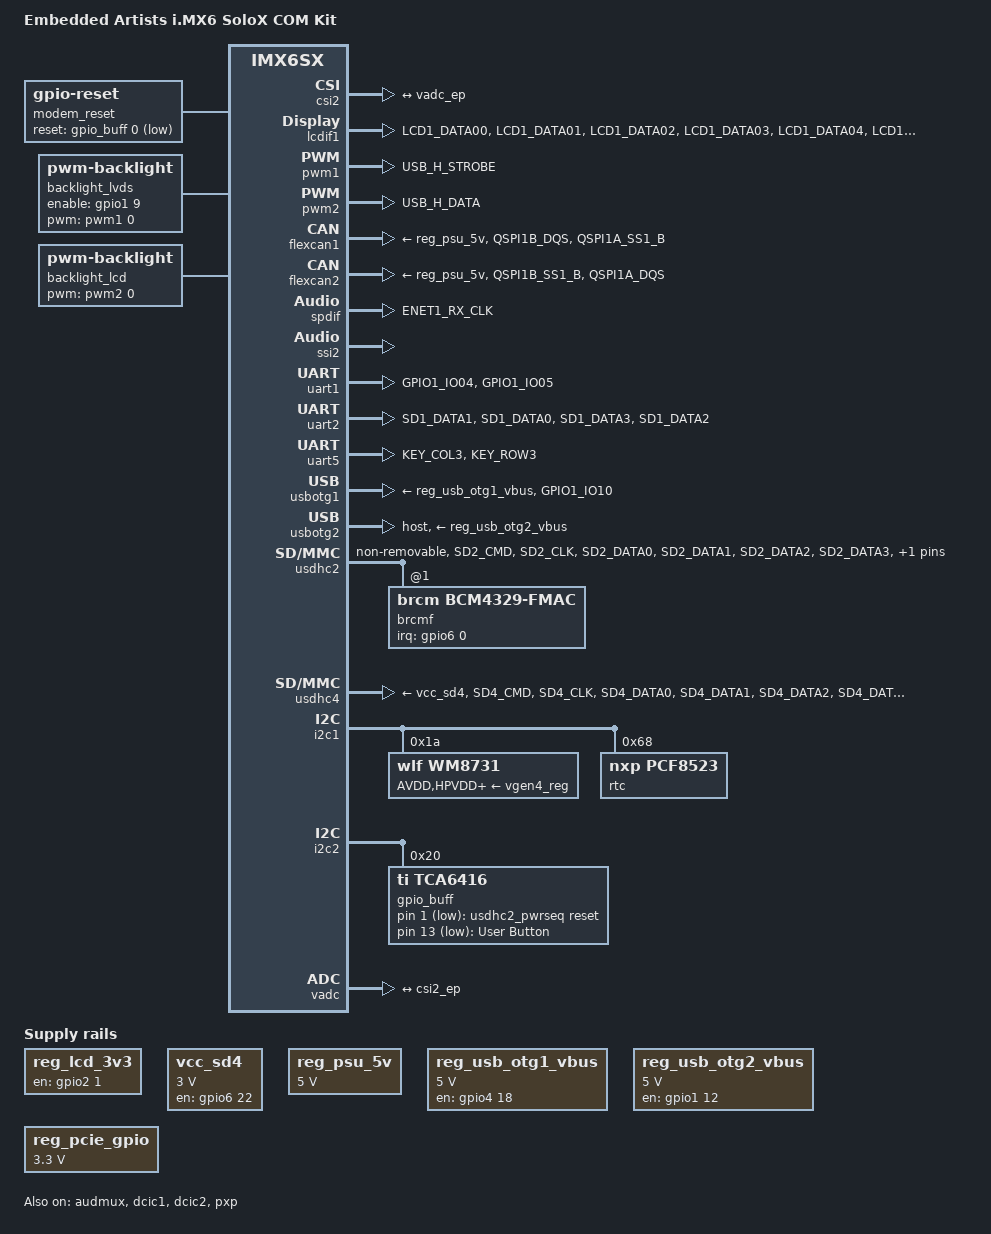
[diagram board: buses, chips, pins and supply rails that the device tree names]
/*
 * Copyright (C) 2014-2015 Freescale Semiconductor, Inc.
 *
 * This program is free software; you can redistribute it and/or modify
 * it under the terms of the GNU General Public License version 2 as
 * published by the Free Software Foundation.
 */

/dts-v1/;

#include <dt-bindings/sound/fsl-imx-audmux.h>
#include "imx6sxea-com.dtsi"

/ {
	model = "Embedded Artists i.MX6 SoloX COM Kit";
	compatible = "fsl,imx6sxea-com", "fsl,imx6sx";

	/* Aliases to allow u-boot to modify the device tree */
	aliases {
		fb_rgb = &lcdif1;
		fb_lvds0 = &lcdif2;
		t_rgb = &t_lcd;
		t_lvds0 = &t_lvds;
		bl_rgb = &backlight_lcd;
		bl_lvds = &backlight_lvds;
		rgb = &display0;
		lvds0 = &display1;
		ldb = &ldb;
		ts_con_rgb = &i2c1;
		ts_con_lvds0 = &i2c1;
	};

	chosen {
		stdout-path = &uart1;
	};

	modem_reset: modem-reset {		/* Murata -- BT_REG_ON */
		compatible = "gpio-reset";
		reset-gpios = <&gpio_buff 0 GPIO_ACTIVE_LOW>;
		reset-delay-us = <1000>;
		initially-in-reset;
		#reset-cells = <0>;
	};

	sii902x_reset: sii902x-reset {
		compatible = "gpio-reset";
		reset-gpios = <&gpio4 19 GPIO_ACTIVE_LOW>;
		reset-delay-us = <10000>;
		initially-in-reset;
		#reset-cells = <0>;
		status = "disabled";
	};

	backlight_lvds: backlight1 {
		compatible = "pwm-backlight";
		pwms = <&pwm1 0 5000000>;
		brightness-levels = <0 4 8 16 32 64 128 255>;
		default-brightness-level = <6>;
		fb-names = "mxs-lcdif0";
		enable-gpios = <&gpio1 9 GPIO_ACTIVE_HIGH>;
	};

	backlight_lcd: backlight2 {
		compatible = "pwm-backlight";
		pwms = <&pwm2 0 5000000>;
		brightness-levels = <0 4 8 16 32 64 128 255>;
		default-brightness-level = <6>;
		fb-names = "mxs-lcdif1";
	};

	pxp_v4l2_out {
		compatible = "fsl,imx6sx-pxp-v4l2", "fsl,imx6sl-pxp-v4l2";
		status = "okay";
	};

	regulators {
		compatible = "simple-bus";
		#address-cells = <1>;
		#size-cells = <0>;

		reg_lcd_3v3: lcd-3v3 {
			compatible = "regulator-fixed";
			regulator-name = "lcd-3v3";
			gpio = <&gpio2 1 GPIO_ACTIVE_LOW>;
			enable-active-high;
			status = "okay";
		};

		/* For uSD/MMC socket on EA COM Base Board */
		vcc_sd4: regulator-vcc-sd4 {
			compatible = "regulator-fixed";
			pinctrl-names = "default";
			pinctrl-0 = <&pinctrl_vcc_sd4>;
			regulator-name = "VCC_SD4";
			regulator-min-microvolt = <3000000>;
			regulator-max-microvolt = <3000000>;
			gpio = <&gpio6 22 GPIO_ACTIVE_HIGH>;
			enable-active-high;
		};

		reg_psu_5v: regulator-psu-5v {
			compatible = "regulator-fixed";
			regulator-name = "PSU-5V0";
			regulator-min-microvolt = <5000000>;
			regulator-max-microvolt = <5000000>;
			regulator-boot-on;
		};


		reg_usb_otg1_vbus: regulator-usb-otg1-vbus {
			compatible = "regulator-fixed";
			pinctrl-names = "default";
			pinctrl-0 = <&pinctrl_usb_otg1>;
			regulator-name = "usb_otg1_vbus";
			regulator-min-microvolt = <5000000>;
			regulator-max-microvolt = <5000000>;
			gpio = <&gpio4 18 GPIO_ACTIVE_HIGH>;
			enable-active-high;
		};
 
		reg_usb_otg2_vbus: regulator-usb-otg2-vbus {
			compatible = "regulator-fixed";
			pinctrl-names = "default";
			pinctrl-0 = <&pinctrl_usb_otg2>;
			regulator-name = "usb_otg2_vbus";
			regulator-min-microvolt = <5000000>;
			regulator-max-microvolt = <5000000>;
			gpio = <&gpio1 12 GPIO_ACTIVE_HIGH>;
			enable-active-high;
		};

		reg_pcie_gpio: regulator-pcie-gpio {
			compatible = "regulator-fixed";
			regulator-name = "MPCIE_3V3";
			regulator-min-microvolt = <3300000>;
			regulator-max-microvolt = <3300000>;			
			regulator-always-on;
		};

		usdhc2_pwrseq: usdhc2_pwrseq {			/* add construct for "fmac" to control WL_REG_ON signal */
			compatible = "mmc-pwrseq-simple";
			reset-gpios = <&gpio_buff 1 GPIO_ACTIVE_LOW>; /* WL REG ON */
			post-power-on-delay-ms = <120>;
			status = "okay";
		};
	};
/*
	sound {
		compatible = "fsl,imx-audio-wm8731";
		model = "wm8731-audio";
		ssi-controller = <&ssi2>;
		src-port = <2>;
		ext-port = <6>;
		audio-codec = <&codec>;
		audio-routing = "LOUT", "ROUT", "LLINEIN", "RLINEIN";
	};
*/
	sound-wm8731 {
		compatible = "simple-audio-card";
		simple-audio-card,name = "wm8731-audio";
		simple-audio-card,format = "i2s";
		simple-audio-card,frame-master = <&cpudai>;
		simple-audio-card,bitclock-master = <&cpudai>;
		simple-audio-card,widgets =
			"Line", "Left Line Out Jack",
			"Line", "Right Line Out Jack";
		simple-audio-card,routing =
			"Left Line Out Jack", "LOUT",
			"Right Line Out Jack", "ROUT";

		cpudai: simple-audio-card,cpu {
			sound-dai = <&ssi2>;
		};

		simple-audio-card,codec {
			sound-dai = <&wm8731>;
			clocks = <&clks IMX6SX_CLK_SSI2>;
		};
	};

	gpio-keys {
		compatible = "gpio-keys";

		user_btn {
			label = "User Button";
			gpios = <&gpio_buff 13 GPIO_ACTIVE_LOW>;
			linux,code = <103>; /* 103 = numpad 7 */
		};
	};
};

&audmux {
	pinctrl-names = "default";
	pinctrl-0 = <&pinctrl_audmux>;
	status = "okay";

        ssi2 {
                fsl,audmux-port = <1>;
                fsl,port-config = <
                        (IMX_AUDMUX_V2_PTCR_RCLKDIR |
                        IMX_AUDMUX_V2_PTCR_RCSEL(5 | 0x8) |
                        IMX_AUDMUX_V2_PTCR_TCLKDIR |
                        IMX_AUDMUX_V2_PTCR_TCSEL(5))
                        IMX_AUDMUX_V2_PDCR_RXDSEL(5)
                >;
        };

        audmux6 {
                fsl,audmux-port = <5>;
                fsl,port-config = <
                        (IMX_AUDMUX_V2_PTCR_TFSDIR |
                        IMX_AUDMUX_V2_PTCR_TFSEL(1) |
                        IMX_AUDMUX_V2_PTCR_RCLKDIR |
                        IMX_AUDMUX_V2_PTCR_RCSEL(1 | 0x8) |
                        IMX_AUDMUX_V2_PTCR_TCLKDIR |
                        IMX_AUDMUX_V2_PTCR_TCSEL(1))
                        IMX_AUDMUX_V2_PDCR_RXDSEL(1)
                >;
        };
};

&csi2 {
	status = "okay";
	port {
		csi2_ep: endpoint {
			remote-endpoint = <&vadc_ep>;
		};
	};
};


&lcdif1 {
	pinctrl-names = "default";
	pinctrl-0 = <&pinctrl_lcdif_dat>;
	lcd-supply = <&reg_lcd_3v3>;
	display = <&display0>;
	status = "okay";

	display0: display@0 {
		bits-per-pixel = <32>;
		bus-width = <24>;

		display-timings {
			native-mode = <&t_lcd>;
			t_lcd: t_lcd_default {
				/* values may be changed in bootscript, default is for EA 7" display */
				clock-frequency = <33336667>;
				hactive = <1280>;
				vactive = <720>;
				hback-porch = <89>;
				hfront-porch = <164>;
				vback-porch = <75>;
				vfront-porch = <75>;
				hsync-len = <10>;
				vsync-len = <10>;
				hsync-active = <0>;
				vsync-active = <0>;
				de-active = <1>;
				pixelclk-active = <0>;
			};
		};
	};
};

&lcdif2 {
        lcd-supply = <&reg_lcd_3v3>;

	display = <&display1>;
	disp-dev = "ldb";
	status = "disabled";

	assigned-clocks = <&clks IMX6SX_CLK_LCDIF2_SEL>;
	assigned-clock-parents = <&clks IMX6SX_CLK_LDB_DI0>;
	assigned-clock-rates = <0>;

	display1: display@1 {
		bits-per-pixel = <16>;
		bus-width = <18>;
	};
};

&ldb {
	status = "disabled";

	lvds-channel@0 {
		fsl,data-mapping = "spwg";
		fsl,data-width = <18>;
		crtc = "lcdif2";
		status = "okay";

		display-timings {
			native-mode = <&t_lvds>;
			t_lvds: t_lvds_default {
				/* values may be changed in bootscript, default is for Hannstar 10" display */
				clock-frequency = <65000000>;
				hactive = <1024>;
				vactive = <768>;
				hback-porch = <220>;
				hfront-porch = <40>;
				vback-porch = <21>;
				vfront-porch = <7>;
				hsync-len = <60>;
				vsync-len = <10>;
			};
		};
	};
};

&pwm1 {
	#pwm-cells = <2>;
	pinctrl-names = "default";
	pinctrl-0 = <&pinctrl_pwm1>;
	status = "okay";
};

&pwm2 {
	#pwm-cells = <2>;
	pinctrl-names = "default";
	pinctrl-0 = <&pinctrl_pwm2>;
	status = "okay";
};

&dcic1 {
	dcic_id = <0>;
	dcic_mux = "dcic-lcdif1";
	status = "okay";
};

&dcic2 {
	dcic_id = <1>;
	dcic_mux = "dcic-lvds";
	status = "okay";
};

&flexcan1 {
	pinctrl-names = "default";
	pinctrl-0 = <&pinctrl_flexcan1>;
	xceiver-supply = <&reg_psu_5v>;
	status = "okay";
};

&flexcan2 {
	pinctrl-names = "default";
	pinctrl-0 = <&pinctrl_flexcan2>;
	xceiver-supply = <&reg_psu_5v>;
	status = "okay";
};

&pcie {
	pinctrl-names = "default";
	pinctrl-0 = <&pinctrl_pcie>;
	reset-gpio = <&gpio_buff 7 GPIO_ACTIVE_LOW>; /* PCIE_PERST_L */
	disable-gpio = <&gpio_buff 1 GPIO_ACTIVE_LOW>; /* WL REG ON */
	clkreq-gpio = <&gpio2 12 GPIO_ACTIVE_LOW>; /* PCIe_CLKREQ */
	status = "disabled";
};

&pxp {
	status = "okay";
};

&sai1 {
        pinctrl-names = "default";
        pinctrl-0 = <&pinctrl_sai1>;
        status = "disabled";
};

&spdif {
	pinctrl-names = "default";
	pinctrl-0 = <&pinctrl_spdif>;
	status = "okay";
};

&ssi2 {
	#sound-dai-cells = <0>;
	fsl,mode = "i2s-master";
	status = "okay";
};

&uart1 {
	pinctrl-names = "default";
	pinctrl-0 = <&pinctrl_uart1>;
	status = "okay";
};

/* Bluetooth UART */
&uart2 {
	pinctrl-names = "default";
	pinctrl-0 = <&pinctrl_uart2>;
	fsl,uart-has-rtscts;
	resets = <&modem_reset>;
	status = "okay";
};

&uart5 {
	pinctrl-names = "default";
	pinctrl-0 = <&pinctrl_uart5>;
	status = "okay";
};

&usbotg1 {
	vbus-supply = <&reg_usb_otg1_vbus>;
	pinctrl-names = "default";
	pinctrl-0 = <&pinctrl_usb_otg1_id>;
	status = "okay";
};

&usbotg2 {
	vbus-supply = <&reg_usb_otg2_vbus>;
	dr_mode = "host";
	status = "okay";
};

&usdhc2 {
	#address-cells = <1>;
	#size-cells = <0>;
	pinctrl-names = "default", "state_100mhz", "state_200mhz";
	pinctrl-0 = <&pinctrl_usdhc2>;
	pinctrl-1 = <&pinctrl_usdhc2_100mhz>;
	pinctrl-2 = <&pinctrl_usdhc2_200mhz>;
	keep-power-in-suspend;
	non-removable;
	pm-ignore-notify;
	cap-power-off; 
	mmc-pwrseq = <&usdhc2_pwrseq>;
	status = "okay";
	max-frequency = <100000000>;
	brcmf: bcrmf@1 {
		reg = <1>;
		compatible = "brcm,bcm4329-fmac";
		interrupt-parent = <&gpio6>;
		interrupts = <0 IRQ_TYPE_LEVEL_LOW>;  /* WL_HOST_WAKE = GPIO6_IO00 active low for M.2. */
		interrupt-names = "host-wake";
	};
};

/* For uSD socket on COM Carrier Board */
&usdhc4 {
	pinctrl-names = "default";
	pinctrl-0 = <&pinctrl_usdhc4>;
	cd-gpios = <&gpio2 16 GPIO_ACTIVE_LOW>;
	vmmc-supply = <&vcc_sd4>;
	no-1-8-v;
	keep-power-in-suspend;
	wakeup-source;
	status = "okay";
};

&i2c1 {
	
	wm8731: wm8731@1a {
		#sound-dai-cells = <0>;
		compatible = "wlf,wm8731";
		reg = <0x1a>;
		clocks = <&clks IMX6SX_CLK_AUDIO>, <&clks IMX6SX_CLK_PLL4_AUDIO_DIV>;
		clock-names = "mclk", "mclk_parent";
		AVDD-supply = <&vgen4_reg>;
		HPVDD-supply = <&vgen4_reg>;
		DCVDD-supply = <&vgen4_reg>;
		DBVDD-supply = <&vgen4_reg>;
	};

	/* AR1021 touch controller through RGB display interface connector on Carrier Board */
	ar1021_rgb@4d {
		compatible = "microchip,ar1021-i2c";
		reg = <0x4d>;
		pinctrl-names = "default";
		pinctrl-0 = <&pinctrl_rgb_connector>;
		interrupt-parent = <&gpio1>;
		interrupts = <17 IRQ_TYPE_EDGE_FALLING>;
		ar1021,swap_xy;
		ar1021,invert_x;
		#ar1021,invert_y;
		status = "disabled";
	};
	/* AR1021 touch controller through LVDS0 display interface connector on Carrier Board */
	ar1021_lvds0@4d {
		compatible = "microchip,ar1021-i2c";
		reg = <0x4d>;
		pinctrl-names = "default";
		pinctrl-0 = <&pinctrl_lvds0_connector>;
		interrupt-parent = <&gpio2>;
		interrupts = <15 IRQ_TYPE_EDGE_FALLING>;
		ar1021,swap_xy;
		ar1021,invert_x;
		#ar1021,invert_y;
		status = "disabled";
	};

	/* eGalax touch controller through RGB display interface connector on Carrier Board */
	egalax_ts_rgb@4 {
		compatible = "eeti,egalax_ts";
		reg = <0x4>;
		pinctrl-names = "default";
		pinctrl-0 = <&pinctrl_rgb_connector>;
		interrupt-parent = <&gpio1>;
		interrupts = <17 IRQ_TYPE_EDGE_FALLING>;
		wakeup-gpios = <&gpio1 17 GPIO_ACTIVE_HIGH>;
		status = "disabled";
	};
	/* eGalax touch controller through LVDS0 display interface connector on Carrier Board */
	egalax_ts_lvds0@4 {
		compatible = "eeti,egalax_ts";
		reg = <0x4>;
		pinctrl-names = "default";
		pinctrl-0 = <&pinctrl_lvds0_connector>;
		interrupt-parent = <&gpio2>;
		interrupts = <15 IRQ_TYPE_EDGE_FALLING>;
		wakeup-gpios = <&gpio2 15 GPIO_ACTIVE_HIGH>;
		status = "disabled";
	};

	/* FocalTech touch controller through RGB display interface connector on Carrier Board */
	edt-ft5x06_rgb@38 {
		compatible = "edt,edt-ft5x06";
		reg = <0x38>;
		pinctrl-names = "default";
		pinctrl-0 = <&pinctrl_rgb_connector>;
		interrupt-parent = <&gpio1>;
		interrupts = <17 IRQ_TYPE_EDGE_FALLING>;
		reset-gpios = <&gpio4 19 GPIO_ACTIVE_HIGH>;
		status = "disabled";
	};
	/* FocalTech touch controller through LVDS0 display interface connector on Carrier Board */
	edt-ft5x06_lvds0@38 {
		compatible = "edt,edt-ft5x06";
		reg = <0x38>;
		pinctrl-names = "default";
		pinctrl-0 = <&pinctrl_lvds0_connector>;
		interrupt-parent = <&gpio2>;
		interrupts = <15 IRQ_TYPE_EDGE_FALLING>;
		status = "disabled";
	};

	/* Ilitek touch controller through RGB display interface connector on Carrier Board */
	ilitek_aim_rgb@41 {
		compatible = "ilitek,ilitek_aim";
		reg = <0x41>;
		pinctrl-names = "default";
		pinctrl-0 = <&pinctrl_rgb_connector>;
		interrupt-parent = <&gpio1>;
		interrupts = <17 IRQ_TYPE_EDGE_FALLING>;
		reset-gpios = <&gpio4 19 GPIO_ACTIVE_HIGH>;
		status = "disabled";
	};
	/* Ilitek touch controller through LVDS0 display interface connector on Carrier Board */
	ilitek_aim_lvds0@41 {
		compatible = "ilitek,ilitek_aim";
		reg = <0x41>;
		pinctrl-names = "default";
		pinctrl-0 = <&pinctrl_lvds0_connector>;
		interrupt-parent = <&gpio2>;
		interrupts = <15 IRQ_TYPE_EDGE_FALLING>;
		status = "disabled";
	};

	/* Atmel MXT1664 touch controller through RGB display interface connector on Carrier Board */
	mxt1664_ts_rgb@4b {
		compatible = "atmel,mxt1664_ts";
		reg = <0x4b>;
		pinctrl-names = "default";
		pinctrl-0 = <&pinctrl_rgb_connector>;
		interrupt-parent = <&gpio1>;
		interrupts = <17 IRQ_TYPE_EDGE_FALLING>;
		status = "disabled";
	};

	/* Atmel MXT1664 touch controller through LVDS0 display interface connector on Carrier Board */
	mxt1664_ts_lvds0@4b {
		compatible = "atmel,mxt1664_ts";
		reg = <0x4b>;
		pinctrl-names = "default";
		pinctrl-0 = <&pinctrl_lvds0_connector>;
		interrupt-parent = <&gpio2>;
		interrupts = <15 IRQ_TYPE_EDGE_FALLING>;
		status = "disabled";
	};

	/* Sitronix touch controller through RGB display interface connector on Carrier Board */
	sitronix_rgb@55 {
		compatible = "sitronix,sitronix_i2c";
		reg = <0x55>;
		pinctrl-names = "default";
		pinctrl-0 = <&pinctrl_rgb_connector>;
		interrupt-parent = <&gpio1>;
		interrupts = <17 IRQ_TYPE_EDGE_FALLING>;
		reset-gpios = <&gpio4 19 GPIO_ACTIVE_HIGH>;
		status = "disabled";
	};
	/* Sitronix touch controller through LVDS0 display interface connector on Carrier Board */
	sitronix_lvds0@55 {
		compatible = "sitronix,sitronix_i2c";
		reg = <0x55>;
		pinctrl-names = "default";
		pinctrl-0 = <&pinctrl_lvds0_connector>;
		interrupt-parent = <&gpio2>;
		interrupts = <15 IRQ_TYPE_EDGE_FALLING>;
		status = "disabled";
	};
	rtc: pcf8523@68 {
		compatible = "nxp,pcf8523";
		reg = <0x68>;
	};

	sii902x: sii902x@39 {
		compatible = "SiI,sii902x";
		pinctrl-names = "default";
		pinctrl-0 = <&pinctrl_rgb_connector>;
		interrupt-parent = <&gpio1>;
		interrupts = <17 IRQ_TYPE_EDGE_FALLING>;
		resets = <&sii902x_reset>;
		mode_str ="800x600M@60";
		bits-per-pixel = <24>;
		reg = <0x39>;
		status = "disbled";
	};
};

&i2c2 {
	gpio_buff: pca6416@20 {
		compatible = "ti,tca6416";
		reg = <0x20>;
		gpio-controller;
		#gpio-cells = <2>;
		gpio-line-names = "BT_REG_ON", "WL_REG_ON", "VBAT_VSEL",
			"BT_DEV_WAKE", "", "AUD_CODEC_MUX_CTRL1",
			"VDDIO_VSEL", "PCIE_PERST_L", "",
			"DIR_WL_DEV_WAKE", "PCIE_CLK_MUX_CTRL", "AUD_CODEC_MUX_CTRL2",
			"DIR_BT_AUD_WS_CLK", "USER_BTN", "USER_LED1", "USER_LED2";

		hog_VBAT_VSEL {
			gpio-hog;
			gpios = <2 0>;
			output-low; /* LOW = 3.3V, HIGH = 3.6V */
		};
		hog_AUD_CODEC_MUX_CTRL1 {
			gpio-hog;
			gpios = <5 0>;
			output-low;
		};
		hog_VDDIO_VSEL {
			gpio-hog;
			gpios = <6 0>;
			output-high; /* LOW = 1.8V, HIGH = 3.3V */
		};
		hog_DIR_WL_DEV_WAKE {
			gpio-hog;
			gpios = <9 0>;
			output-low;
		};
		hog_PCIE_CLK_MUX_CTRL {
			gpio-hog;
			gpios = <10 0>;
			output-high; /* LOW = External Reference Clock, HIGH = i.MX Generated Clock */
		};
		hog_AUD_CODEC_MUX_CTRL2 {
			gpio-hog;
			gpios = <11 0>;
			output-low;
		};
	};
};


&vadc {
	vadc_in = <0>;
	csi_id = <1>;
	status = "okay";
	port {
		vadc_ep: endpoint {
			remote-endpoint = <&csi2_ep>;
		};
	};
};

&iomuxc {
	pinctrl-0 = <&pinctrl_lcdif_ctrl>, <&pinctrl_exp_conn>;

	imx6xea-com-kit {

		pinctrl_audmux: audmuxgrp {
			fsl,pins = <
				MX6SX_PAD_CSI_DATA00__AUDMUX_AUD6_TXC   0x130b0
				MX6SX_PAD_CSI_DATA01__AUDMUX_AUD6_TXFS  0x130b0
				MX6SX_PAD_CSI_HSYNC__AUDMUX_AUD6_TXD    0x120b0
				MX6SX_PAD_CSI_VSYNC__AUDMUX_AUD6_RXD    0x130b0
				MX6SX_PAD_CSI_PIXCLK__AUDMUX_MCLK       0x130b0
			>;
		};

		pinctrl_canfd1: canfd1grp-1 {
			fsl,pins = <
				MX6SX_PAD_QSPI1B_DQS__CANFD_TX1         0x1b0b0
				MX6SX_PAD_QSPI1A_SS1_B__CANFD_RX1       0x1b0b0
			>;
		};

		pinctrl_canfd2: canfd2grp-1 {
			fsl,pins = <
				MX6SX_PAD_QSPI1B_SS1_B__CANFD_RX2       0x1b0b0
				MX6SX_PAD_QSPI1A_DQS__CANFD_TX2         0x1b0b0
			>;
		};

		pinctrl_rgb_connector: rgb_connector_grp {
			fsl,pins = <
				MX6SX_PAD_CSI_DATA03__GPIO1_IO_17       0x1f0b0
				MX6SX_PAD_QSPI1A_DATA3__GPIO4_IO_19     0x1f0b0
			>;
		};

		pinctrl_lvds0_connector: lvds0_connector_grp {
			fsl,pins = <
				MX6SX_PAD_KEY_ROW0__GPIO2_IO_15 0x80000000
			>;
		};

		pinctrl_flexcan1: flexcan1grp {
			fsl,pins = <
				MX6SX_PAD_QSPI1B_DQS__CAN1_TX		0x1b020
				MX6SX_PAD_QSPI1A_SS1_B__CAN1_RX		0x1b020
			>;
		};

		pinctrl_flexcan2: flexcan2grp {
			fsl,pins = <
				MX6SX_PAD_QSPI1B_SS1_B__CAN2_RX		0x1b020
				MX6SX_PAD_QSPI1A_DQS__CAN2_TX		0x1b020
			>;
		};

		pinctrl_lcdif_dat: lcdifdatgrp {
			fsl,pins = <
				MX6SX_PAD_LCD1_DATA00__LCDIF1_DATA_0 0x4001b0b0
				MX6SX_PAD_LCD1_DATA01__LCDIF1_DATA_1 0x4001b0b0
				MX6SX_PAD_LCD1_DATA02__LCDIF1_DATA_2 0x4001b0b0
				MX6SX_PAD_LCD1_DATA03__LCDIF1_DATA_3 0x4001b0b0
				MX6SX_PAD_LCD1_DATA04__LCDIF1_DATA_4 0x4001b0b0
				MX6SX_PAD_LCD1_DATA05__LCDIF1_DATA_5 0x4001b0b0
				MX6SX_PAD_LCD1_DATA06__LCDIF1_DATA_6 0x4001b0b0
				MX6SX_PAD_LCD1_DATA07__LCDIF1_DATA_7 0x4001b0b0
				MX6SX_PAD_LCD1_DATA08__LCDIF1_DATA_8 0x4001b0b0
				MX6SX_PAD_LCD1_DATA09__LCDIF1_DATA_9 0x4001b0b0
				MX6SX_PAD_LCD1_DATA10__LCDIF1_DATA_10 0x4001b0b0
				MX6SX_PAD_LCD1_DATA11__LCDIF1_DATA_11 0x4001b0b0
				MX6SX_PAD_LCD1_DATA12__LCDIF1_DATA_12 0x4001b0b0
				MX6SX_PAD_LCD1_DATA13__LCDIF1_DATA_13 0x4001b0b0
				MX6SX_PAD_LCD1_DATA14__LCDIF1_DATA_14 0x4001b0b0
				MX6SX_PAD_LCD1_DATA15__LCDIF1_DATA_15 0x4001b0b0
				MX6SX_PAD_LCD1_DATA16__LCDIF1_DATA_16 0x4001b0b0
				MX6SX_PAD_LCD1_DATA17__LCDIF1_DATA_17 0x4001b0b0
				MX6SX_PAD_LCD1_DATA18__LCDIF1_DATA_18 0x4001b0b0
				MX6SX_PAD_LCD1_DATA19__LCDIF1_DATA_19 0x4001b0b0
				MX6SX_PAD_LCD1_DATA20__LCDIF1_DATA_20 0x4001b0b0
				MX6SX_PAD_LCD1_DATA21__LCDIF1_DATA_21 0x4001b0b0
				MX6SX_PAD_LCD1_DATA22__LCDIF1_DATA_22 0x4001b0b0
				MX6SX_PAD_LCD1_DATA23__LCDIF1_DATA_23 0x4001b0b0
			>;
		};

		pinctrl_lcdif_ctrl: lcdifctrlgrp {
			fsl,pins = <
				MX6SX_PAD_LCD1_CLK__LCDIF1_CLK	0x4001b0b0
				MX6SX_PAD_LCD1_ENABLE__LCDIF1_ENABLE 0x4001b0b0
				MX6SX_PAD_LCD1_VSYNC__LCDIF1_VSYNC 0x4001b0b0
				MX6SX_PAD_LCD1_HSYNC__LCDIF1_HSYNC 0x4001b0b0
				MX6SX_PAD_LCD1_RESET__GPIO3_IO_27 0x4001b0b0
				MX6SX_PAD_GPIO1_IO09__GPIO1_IO_9 0x4001b0b0
				MX6SX_PAD_ENET1_CRS__GPIO2_IO_1 0x110b0
			>;
		};

		pinctrl_pwm1: pwm1grp {
			fsl,pins = <
				MX6SX_PAD_USB_H_STROBE__PWM1_OUT 0x110b0
			>;
		};

		pinctrl_pwm2: pwm2grp {
			fsl,pins = <
				MX6SX_PAD_USB_H_DATA__PWM2_OUT 0x110b0
			>;
		};


		pinctrl_sai1: sai1grp {
				fsl,pins = <
						MX6SX_PAD_CSI_DATA00__SAI1_TX_BCLK     0x130b0
						MX6SX_PAD_CSI_DATA01__SAI1_TX_SYNC     0x130b0
						MX6SX_PAD_CSI_HSYNC__SAI1_TX_DATA_0    0x120b0
						MX6SX_PAD_CSI_VSYNC__SAI1_RX_DATA_0    0x130b0
						MX6SX_PAD_CSI_PIXCLK__AUDMUX_MCLK      0x130b0
				>;
		};

		pinctrl_spdif: spdifgrp {
			fsl,pins = <
				MX6SX_PAD_ENET1_RX_CLK__SPDIF_OUT          0x1b0b0
			>;
		};

		pinctrl_pcie: pciegrp {
			fsl,pins = <
				MX6SX_PAD_KEY_COL2__GPIO2_IO_12		0x17059  /* PCIe_CLKREQ */
			>;
		};

		pinctrl_vcc_sd4: vccsd4grp {
			fsl,pins = <
				MX6SX_PAD_SD4_RESET_B__GPIO6_IO_22		0x17059
			>;
		};

		pinctrl_uart1: uart1grp {
			fsl,pins = <
				MX6SX_PAD_GPIO1_IO04__UART1_TX		0x1f0b1
				MX6SX_PAD_GPIO1_IO05__UART1_RX		0x1f0b1
			>;
		};

		pinctrl_uart2: uart2grp {
			fsl,pins = <
				MX6SX_PAD_SD1_DATA1__UART2_TX		0x1b0b1
				MX6SX_PAD_SD1_DATA0__UART2_RX		0x1b0b1
				MX6SX_PAD_SD1_DATA3__UART2_RTS_B	0x1b0b1
				MX6SX_PAD_SD1_DATA2__UART2_CTS_B	0x1b0b1
			>;
		};

		pinctrl_uart5: uart5grp {
			fsl,pins = <
				MX6SX_PAD_KEY_COL3__UART5_TX		0x1f0b1
				MX6SX_PAD_KEY_ROW3__UART5_RX		0x1f0b1
			>;
		};

		pinctrl_usb_otg1: usbotg1grp {
			fsl,pins = <
				MX6SX_PAD_QSPI1A_DATA2__USB_OTG1_PWR	0x10b0
				MX6SX_PAD_QSPI1A_DATA2__GPIO4_IO_18     0x10b0
			>;
		};

		pinctrl_usb_otg1_id: usbotg1idgrp {
			fsl,pins = <
				MX6SX_PAD_GPIO1_IO10__ANATOP_OTG1_ID	0x17059
			>;
		};

		pinctrl_usb_otg2: usbot2ggrp {
			fsl,pins = <
				MX6SX_PAD_GPIO1_IO12__GPIO1_IO_12	0x10b0
			>;
		};

		pinctrl_usdhc2: usdhc2grp {
			fsl,pins = <
				MX6SX_PAD_SD2_CMD__USDHC2_CMD		0x17069  /* Murata - default is 0x17059 including data lines */  
				MX6SX_PAD_SD2_CLK__USDHC2_CLK		0x10071  /* Murata - default is 0x10059 */
				MX6SX_PAD_SD2_DATA0__USDHC2_DATA0	0x17069
				MX6SX_PAD_SD2_DATA1__USDHC2_DATA1	0x17069
				MX6SX_PAD_SD2_DATA2__USDHC2_DATA2	0x17069
				MX6SX_PAD_SD2_DATA3__USDHC2_DATA3	0x17069
				MX6SX_PAD_SD1_CLK__GPIO6_IO_0		0x13041 /* WL_HOST_WAKE */
			>;
		};

		pinctrl_usdhc2_100mhz: usdhc2grp-100mhz {
			fsl,pins = <
				MX6SX_PAD_SD2_CMD__USDHC2_CMD		0x170b9
				MX6SX_PAD_SD2_CLK__USDHC2_CLK		0x100b9
				MX6SX_PAD_SD2_DATA0__USDHC2_DATA0	0x170b9
				MX6SX_PAD_SD2_DATA1__USDHC2_DATA1	0x170b9
				MX6SX_PAD_SD2_DATA2__USDHC2_DATA2	0x170b9
				MX6SX_PAD_SD2_DATA3__USDHC2_DATA3	0x170b9
			>;
		};

		pinctrl_usdhc2_200mhz: usdhc2grp-200mhz {
			fsl,pins = <
				MX6SX_PAD_SD2_CMD__USDHC2_CMD		0x170f9
				MX6SX_PAD_SD2_CLK__USDHC2_CLK		0x100f9
				MX6SX_PAD_SD2_DATA0__USDHC2_DATA0	0x170f9
				MX6SX_PAD_SD2_DATA1__USDHC2_DATA1	0x170f9
				MX6SX_PAD_SD2_DATA2__USDHC2_DATA2	0x170f9
				MX6SX_PAD_SD2_DATA3__USDHC2_DATA3	0x170f9
			>;
		};

		pinctrl_usdhc4: usdhc4grp {
			fsl,pins = <
				MX6SX_PAD_SD4_CMD__USDHC4_CMD		0x17061
				MX6SX_PAD_SD4_CLK__USDHC4_CLK		0x10061
				MX6SX_PAD_SD4_DATA0__USDHC4_DATA0	0x17061
				MX6SX_PAD_SD4_DATA1__USDHC4_DATA1	0x17061
				MX6SX_PAD_SD4_DATA2__USDHC4_DATA2	0x17061
				MX6SX_PAD_SD4_DATA3__USDHC4_DATA3	0x17061
				MX6SX_PAD_KEY_ROW1__GPIO2_IO_16		0x17061 /* CD */
			>;
		};

		/* Expansion Board */
		pinctrl_exp_conn: expconngrp {
			fsl,pins = <
				/* GPIO_H Not Connected */
				/* GPIO_J Not Connected */
				/* GPIO_K Not Connected */
				MX6SX_PAD_QSPI1B_DATA3__GPIO4_IO_27	0x130b1 /* GPIO_P shared with QSPI*/
				/* GPIO_Q Not Connected */
				/* GPIO_R Not Connected */
				/* GPIO_S Not Connected */
				/* GPIO_T Not Connected */
				/* GPIO_U Not Connected */
				/* GPIO_V Not Connected */
				/* GPIO_W Not Connected */
				/* GPIO_X Not Connected */
				/* GPIO_Y Not Connected */
				/* GPIO_Z Not Connected */
				/* GPIO_AA Not Connected */
				/* GPIO_AB Not Connected */
				/* GPIO_AC Not Connected */
				/* GPIO_AD Not Connected */
				/* GPIO_AE Not Connected */
				/* GPIO_AF Not Connected */
				/* GPIO_AG Not Connected */
				/* GPIO_AH Not Connected */
				/* GPIO_AJ Not Connected */
				/* GPIO_AK Not Connected */
				/* GPIO_AL Not Connected */
				/* GPIO_AP Not Connected */
				/* GPIO_AQ Not Connected */
				/* GPIO_AR Not Connected */
				/* GPIO_AS Not Connected */
				/* GPIO_AT Not Connected */
				/* GPIO_AU Not Connected */
				/* GPIO_AV Not Connected */
			>;
		};
	};
};
